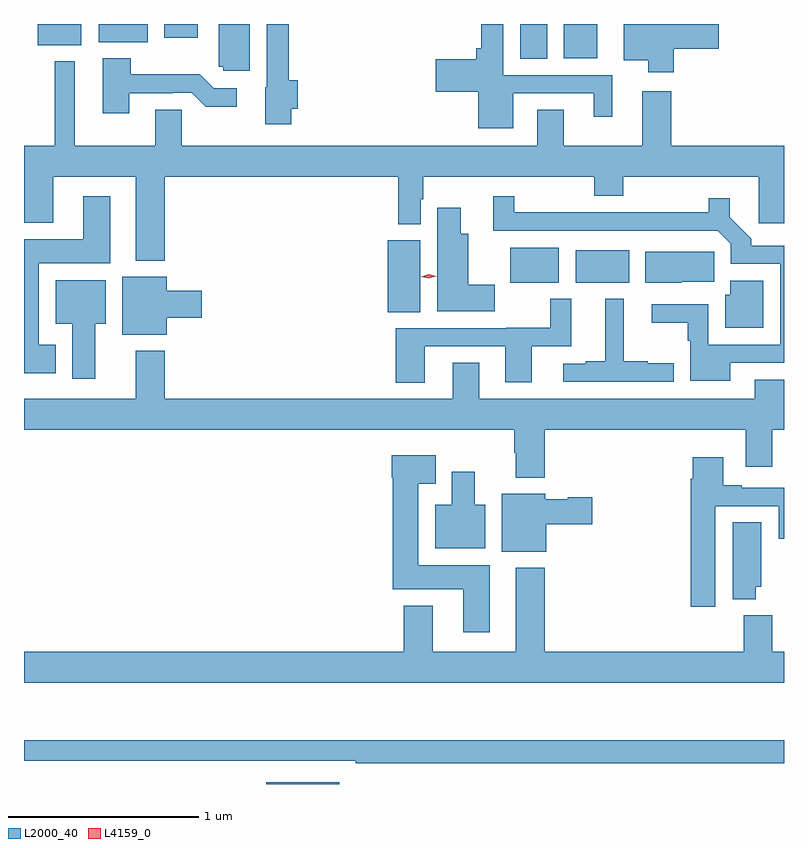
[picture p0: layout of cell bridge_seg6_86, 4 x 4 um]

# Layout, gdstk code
import gdstk
lib = gdstk.Library(unit=1e-6, precision=1e-09)
def R(c, l, rs):  # rectangles x0, y0, x1, y1
    for r in rs: c.add(gdstk.rectangle(r[:2], r[2:], *l))
def P(c, l, *ps):  # polygons
    for p in ps: c.add(gdstk.Polygon(p, *l))
L2000_40 = (2000, 40)
L4159_0 = (4159, 0)

bridge_seg6_86 = lib.new_cell('bridge_seg6_86')
R(bridge_seg6_86, L2000_40, [(713.022,948.136,713.407,948.145), (713.663,950.62,713.833,950.998), (714.308,950.774,714.562,950.959), (714.653,950.774,714.934,950.944), (714.359,951.952,714.502,952.136), (714.59,951.956,714.766,952.136), (711.821,952.025,712.048,952.136), (712.142,952.04,712.4,952.136), (712.485,952.064,712.663,952.136)])
P(bridge_seg6_86, L2000_40, [(713.154,951.69),(713.189,951.69),(713.189,951.839),(713.141,951.839),(713.141,952.136),(713.025,952.136),(713.025,951.804),(713.018,951.804),(713.018,951.608),(713.154,951.608)],
  [(715.169,952.007),(715.405,952.007),(715.405,952.136),(714.905,952.136),(714.905,951.944),(715.034,951.944),(715.034,951.882),(715.169,951.882)],
  [(712.936,952.136),(712.772,952.136),(712.772,951.912),(712.797,951.912),(712.797,951.891),(712.936,951.891)],
  [(714.322,951.771),(714.746,951.771),(714.746,951.648),(714.844,951.648),(714.844,951.867),(714.27,951.867),(714.27,952.136),(714.154,952.136),(714.154,952.009),(714.128,952.009),(714.128,951.95),(713.916,951.95),(713.916,951.779),(714.14,951.779),(714.14,951.587),(714.322,951.587)],
  [(712.303,951.771),(712.532,951.771),(712.532,951.774),(712.632,951.774),(712.705,951.701),(712.867,951.701),(712.867,951.798),(712.746,951.798),(712.673,951.871),(712.311,951.871),(712.311,951.955),(712.163,951.955),(712.163,951.666),(712.303,951.666)],
  [(712.49,951.332),(713.719,951.332),(713.719,951.083),(713.835,951.083),(713.835,951.213),(713.848,951.213),(713.848,951.332),(714.748,951.332),(714.748,951.233),(714.903,951.233),(714.903,951.332),(715.615,951.332),(715.615,951.087),(715.748,951.087),(715.748,951.496),(715.154,951.496),(715.154,951.781),(715.001,951.781),(715.001,951.496),(714.589,951.496),(714.589,951.686),(714.449,951.686),(714.449,951.496),(712.578,951.496),(712.578,951.686),(712.439,951.686),(712.439,951.496),(712.015,951.496),(712.015,951.94),(711.911,951.94),(711.911,951.496),(711.748,951.496),(711.748,951.332),(711.749,951.332),(711.749,951.089),(711.901,951.089),(711.901,951.332),(712.337,951.332),(712.337,950.891),(712.49,950.891)],
  [(711.916,950.449),(711.826,950.449),(711.826,950.876),(712.201,950.876),(712.201,951.229),(712.061,951.229),(712.061,951.004),(711.748,951.004),(711.748,950.297),(711.916,950.297)],
  [(715.465,950.352),(715.748,950.352),(715.748,950.97),(715.576,950.97),(715.576,951.005),(715.462,951.119),(715.462,951.22),(715.353,951.22),(715.353,951.146),(714.991,951.146),(714.991,951.144),(714.659,951.144),(714.659,951.146),(714.328,951.146),(714.328,951.229),(714.218,951.229),(714.218,951.048),(715.398,951.048),(715.467,950.979),(715.467,950.874),(715.728,950.874),(715.728,950.448),(715.35,950.448),(715.35,950.661),(715.053,950.661),(715.053,950.564),(715.242,950.564),(715.242,950.468),(715.254,950.468),(715.254,950.258),(715.465,950.258)],
  [(714.225,950.764),(714.085,950.764),(714.085,951.031),(714.046,951.031),(714.046,951.169),(713.924,951.169),(713.924,950.624),(714.225,950.624)],
  [(715.209,950.78),(715.381,950.78),(715.381,950.937),(715.274,950.937),(715.274,950.938),(715.019,950.938),(715.019,950.774),(715.209,950.774)],
  [(712.498,950.59),(712.684,950.59),(712.684,950.732),(712.498,950.732),(712.498,950.806),(712.265,950.806),(712.265,950.501),(712.498,950.501)],
  [(712.123,950.558),(712.177,950.558),(712.177,950.788),(711.914,950.788),(711.914,950.558),(712.001,950.558),(712.001,950.268),(712.123,950.268)],
  [(715.639,950.785),(715.466,950.785),(715.466,950.712),(715.439,950.712),(715.439,950.537),(715.639,950.537)],
  [(715.168,950.351),(715.031,950.351),(715.031,950.362),(714.904,950.362),(714.904,950.689),(714.806,950.689),(714.806,950.362),(714.704,950.362),(714.704,950.349),(714.585,950.349),(714.585,950.253),(715.168,950.253)],
  [(713.857,950.439),(714.281,950.439),(714.281,950.25),(714.421,950.25),(714.421,950.439),(714.629,950.439),(714.629,950.689),(714.519,950.689),(714.519,950.538),(714.285,950.538),(714.285,950.535),(713.705,950.535),(713.705,950.249),(713.857,950.249)],
  [(714.488,950),(715.547,950),(715.547,949.806),(715.687,949.806),(715.687,950),(715.748,950),(715.748,950.263),(715.595,950.263),(715.595,950.164),(714.145,950.164),(714.145,950.354),(714.005,950.354),(714.005,950.164),(712.49,950.164),(712.49,950.416),(712.337,950.416),(712.337,950.164),(711.748,950.164),(711.748,950),(714.328,950),(714.328,949.88),(714.335,949.88),(714.335,949.748),(714.488,949.748)],
  [(714.199,949.288),(713.824,949.288),(713.824,949.715),(713.914,949.715),(713.914,949.867),(713.684,949.867),(713.684,949.749),(713.69,949.749),(713.69,949.16),(714.059,949.16),(714.059,948.936),(714.199,948.936)],
  [(715.387,949.599),(715.721,949.599),(715.721,949.428),(715.748,949.428),(715.748,949.695),(715.525,949.695),(715.525,949.708),(715.429,949.708),(715.429,949.855),(715.268,949.855),(715.268,949.742),(715.256,949.742),(715.256,949.068),(715.387,949.068)],
  [(714.175,949.606),(714.121,949.606),(714.121,949.78),(713.999,949.78),(713.999,949.606),(713.912,949.606),(713.912,949.376),(714.175,949.376)],
  [(714.496,949.502),(714.739,949.502),(714.739,949.644),(714.609,949.644),(714.609,949.636),(714.492,949.636),(714.492,949.663),(714.263,949.663),(714.263,949.358),(714.496,949.358)],
  [(715.6,949.173),(715.627,949.173),(715.627,949.514),(715.478,949.514),(715.478,949.109),(715.6,949.109)],
  [(715.748,948.832),(715.687,948.832),(715.687,949.024),(715.535,949.024),(715.535,948.832),(714.488,948.832),(714.488,949.273),(714.335,949.273),(714.335,948.832),(713.899,948.832),(713.899,949.075),(713.747,949.075),(713.747,948.832),(711.748,948.832),(711.748,948.668),(715.748,948.668)],
  [(715.748,948.367),(711.748,948.367),(711.748,948.258),(713.494,948.258),(713.494,948.246),(715.748,948.246)])
P(bridge_seg6_86, L4159_0, [(713.879,950.798),(713.839,950.807),(713.839,950.807),(713.839,950.807),(713.879,950.818),(713.919,950.809),(713.919,950.809),(713.919,950.808)])

lib.write_gds('bridge_seg6_86.gds')
